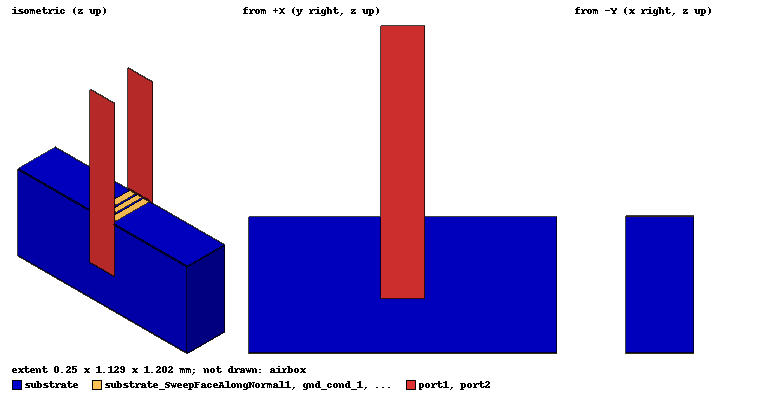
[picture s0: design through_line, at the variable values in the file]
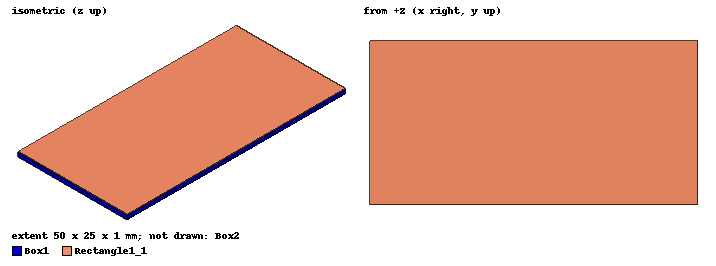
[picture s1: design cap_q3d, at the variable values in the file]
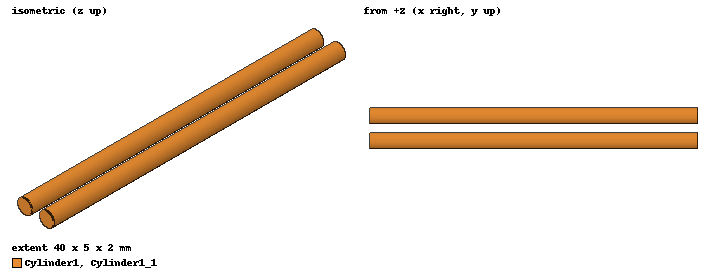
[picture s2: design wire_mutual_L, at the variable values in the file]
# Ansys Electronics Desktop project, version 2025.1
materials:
  air: permittivity=1.0006 permeability=1.0000004
  copper: permeability=0.999991 conductivity=58000000
  FR4_epoxy: permittivity=4.4 dielectric_loss_tangent=0.02
  gallium_arsenide: permittivity=12.9 conductivity=1e-05
  gold: permeability=0.99996 conductivity=41000000
  sapphire: permittivity=9.4
  SolderMask: permittivity=3.1 dielectric_loss_tangent=0.035
  vacuum: permittivity=1

design CPW_transition (HFSS, HFSS Terminal Network, model units mm)
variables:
  subx = 2mm
  suby = s + 2*(g+gnd_width) + 3000um
  subz = 500um
  s = 72um
  g = 33um
  gnd_width = 3*s
  Tmet = 2um
  air_box_h = subz + 15000um
  porty = 3*(2*g+s)
  portz = 2*subz
  airx = subx
  airy = suby+15000um
  abpillarx = 20um
  abpillary = 20um
  abpillarz = 4um
  transition_gap = 1000um
  pillarh = 25um  # optimise 40um..120um
  sig_p_r = 20um  # optimise 10um..30um
  overlay_pad = overlay_tol
  g_pillar_seperation = 100um  # optimise 50um..150um
  gnd_p_r = 30um  # optimise 15um..45um
  chipx = transition_gap+ 2*overlay_tol + 2*dielectric_overlap
  chipy = 3mm
  overlay_tol = 50um  # optimise 25um..75um
  dielectric_overlap = 1mm  # optimise 0.5mm..1.5mm
  chip_s = s
  chip_g = g
  chip_gnd_width = gnd_width
  bonder_tol = 10um  # optimise 5um..15um
  chip_trace_len = transition_gap + 2* overlay_tol + 4*gnd_p_r + bonder_tol
  trace_overlap = overlay_tol + 2*gnd_p_r + bonder_tol/2
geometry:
  substrate [sapphire] = box(corner=(-subx/2, -suby/2, 0mm), size=(subx, suby, subz))
  signal_dummy [vacuum, non-model] = substrate.section(plane=ZX)
  signal_dummy.thicken(s, both sides)
  gap_dummy1 [vacuum, non-model] = sweep_along_normal(signal_dummy.face(at (0, -0.03, 0.25)), length=g)
  gap_dummy2 [vacuum, non-model] = sweep_along_normal(signal_dummy.face(at (0, 0.03, 0.25)), length=g)
  gnd_dummy1 [vacuum, non-model] = sweep_along_normal(gap_dummy1.face(at (0, -0.0585, 0.25)), length=gnd_width)
  gnd_dummy2 [vacuum, non-model] = sweep_along_normal(gap_dummy2.face(at (0, 0.0585, 0.25)), length=gnd_width)
  port1 = rectangle(corner=(subx/2, -porty/2, 50um), y_size=porty, z_size=portz)
  port2 = rectangle(corner=(-subx/2, -porty/2, 50um + pillarh), y_size=porty, z_size=portz)
  airbox [air] = box(corner=(-airx/2, -airy/2, -air_box_h/2), size=(airx, airy, air_box_h))
  substrate_Section1 = substrate.section(plane=YZ)
  substrate_Section1.thicken(transition_gap, both sides)
  substrate_Section1_1 = substrate_Section1.copy()
  gap_dummy1.subtract(substrate_Section1_1)
  substrate_Section1_2 = substrate_Section1.copy()
  gap_dummy2.subtract(substrate_Section1_2)
  substrate_Section1_3 = substrate_Section1.copy()
  gnd_dummy1.subtract(substrate_Section1_3)
  substrate_Section1_4 = substrate_Section1.copy()
  gnd_dummy2.subtract(substrate_Section1_4)
  signal_dummy.subtract(substrate_Section1)
  gnd1_1 [gold] = sweep_along_normal(gnd_dummy1.face(at (0.75, -0.177, 0.5), at (-0.75, -0.177, 0.5)), length=Tmet)
  signal1 [gold] = sweep_along_normal(signal_dummy.face(at (0.75, 0, 0.5), at (-0.75, 0, 0.5)), length=Tmet)
  gnd2_1 [gold] = sweep_along_normal(gnd_dummy2.face(at (0.75, 0.177, 0.5), at (-0.75, 0.177, 0.5)), length=Tmet)
  p_sig_1 [gold] = cylinder(axis=Z, base_centre=(transition_gap/2 + sig_p_r  + overlay_pad, 0mm, subz+Tmet), radius=sig_p_r, height=pillarh)
  p_gnd_1_1 [gold] = cylinder(axis=Z, base_centre=(transition_gap/2 + sig_p_r  + overlay_pad, -g -s/2 - g_pillar_seperation, subz+Tmet), radius=gnd_p_r, height=pillarh)
  p_gnd_2_1 [gold] = p_gnd_1_1.duplicate_mirror(point=(0.53mm, 0mm, 0.502mm), normal=(2.7755576e-14mm, 1mm, 0mm))
  chip [sapphire] = box(corner=(-chipx/2, -chipy/2, subz+2*Tmet+pillarh), size=(chipx, chipy, subz))
  chip_signal_dummy [gallium_arsenide, non-model] = chip.section(plane=ZX)
  chip_signal_dummy.thicken(chip_s, both sides)
  chip_gap_dummy2, chip_gap_dummy1 [gallium_arsenide, non-model] = sweep_along_normal(chip_signal_dummy.face(at (0, 0.036, 0.779), at (0, -0.036, 0.779)), length=chip_g)
  chip_gnd_dummy2 [gallium_arsenide, non-model] = sweep_along_normal(chip_gap_dummy2.face(at (0, 0.069, 0.779)), length=chip_gnd_width)
  chip_gnd_dummy1 [gallium_arsenide, non-model] = sweep_along_normal(chip_gap_dummy1.face(at (0, -0.069, 0.779)), length=chip_gnd_width)
  chip_Section1_Section1 [gallium_arsenide, non-model] = chip_signal_dummy.section(plane=YZ)
  chip_Section1_SweepFaceAlongNormal1_Section1 [gallium_arsenide, non-model] = chip_gap_dummy2.section(plane=YZ)
  chip_Section1_SweepFaceAlongNormal2_Section1 [gallium_arsenide, non-model] = chip_gap_dummy1.section(plane=YZ)
  chip_Section1_SweepFaceAlongNormal1_SweepFaceAlongNormal1_Section1 [gallium_arsenide, non-model] = chip_gnd_dummy2.section(plane=YZ)
  chip_Section1_SweepFaceAlongNormal2_SweepFaceAlongNormal1_Section1 [gallium_arsenide, non-model] = chip_gnd_dummy1.section(plane=YZ)
  [chip_Section1_Section1, chip_Section1_SweepFaceAlongNormal1_Section1, chip_Section1_SweepFaceAlongNormal2_Section1, chip_Section1_SweepFaceAlongNormal1_SweepFaceAlongNormal1_Section1, chip_Section1_SweepFaceAlongNormal2_SweepFaceAlongNormal1_Section1].thicken(chip_trace_len, both sides)
  chip_gnd1 [gold] = sweep_along_normal(chip_Section1_SweepFaceAlongNormal2_SweepFaceAlongNormal1_Section1.face(at (0, -0.177, 0.529)), length=Tmet)
  chip_gnd2 [gold] = sweep_along_normal(chip_Section1_SweepFaceAlongNormal1_SweepFaceAlongNormal1_Section1.face(at (0, 0.177, 0.529)), length=Tmet)
  chip_signal [gold] = sweep_along_normal(chip_Section1_Section1.face(at (0, 0, 0.529)), length=Tmet)
  substrate.move_faces(MoveAlongNormalFlag=false MoveVectorX=0.6mm MoveVectorY=0mm MoveVectorZ=0mm FacesToMove=substrate.face(-x))
  chip_gnd1.move_faces(MoveAlongNormalFlag=false MoveVectorX=0.2666mm MoveVectorY=0mm MoveVectorZ=0mm FacesToMove=chip_gnd1.face(at (-0.615, -0.177, 0.528)))
  chip_signal.move_faces(MoveAlongNormalFlag=false MoveVectorX=0.2666mm MoveVectorY=0mm MoveVectorZ=0mm FacesToMove=chip_signal.face(at (-0.615, 0, 0.528)))
  chip_gnd2.move_faces(MoveAlongNormalFlag=false MoveVectorX=0.2666mm MoveVectorY=0mm MoveVectorZ=0mm FacesToMove=chip_gnd2.face(at (-0.615, 0.177, 0.528)))
  substrate.move_faces(MoveAlongNormalFlag=false MoveVectorX=0.0516mm MoveVectorY=1.4775mm MoveVectorZ=0.024mm FacesToMove=substrate.face(-x))
  substrate.move_faces(MoveAlongNormalFlag=false MoveVectorX=0.4484mm MoveVectorY=0mm MoveVectorZ=0mm FacesToMove=substrate.face(-x))
  chip.move_faces(MoveAlongNormalFlag=false MoveVectorX=1.2016mm MoveVectorY=1.219mm MoveVectorZ=0mm FacesToMove=chip.face(-x))
  port2.move(0.6516mm, 0mm, 0mm)
  chip.move_faces(MoveAlongNormalFlag=false MoveVectorX=-0.935mm MoveVectorY=1.219mm MoveVectorZ=-0.5mm FacesToMove=chip.face(+x))
  airbox.move_faces(MoveAlongNormalFlag=false MoveVectorX=0.6516mm MoveVectorY=9.083mm MoveVectorZ=7.8mm FacesToMove=airbox.face(-x))
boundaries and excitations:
  Rad1: Radiation Faces=airbox.face(-y, +z, -z, +y)
  Rad2: Radiation Faces=airbox.face(+x, -x)
  1: Wave Port Objects=port1 WavePortType=Modal NumModes=1 Modes{Mode1{IntLine{(1, 0.036, 0.502) -> (1, 0.069, 0.502)} CharImp=Zpv RenormImp=50ohm}}
  2: Wave Port Objects=port2 WavePortType=Modal NumModes=1 Modes{Mode1{IntLine{(-0.3484, 0.036, 0.529) -> (-0.3484, 0.069, 0.529)} CharImp=Zpv RenormImp=50ohm}}
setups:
  broadband: HfssDriven MultipleAdaptiveFreqsSetup{Low=10GHz High=50GHz} MaxDeltaS=0.02 MaximumPasses=15 MinimumPasses=1 MinimumConvergedPasses=1 PercentRefinement=30 BasisOrder=1 PortAccuracy=0.1 UseABCOnPort DrivenSolverType="Direct Solver" SaveAnyFields=false
    sweep Sweep: 2GHz to 60GHz, 2801 points; Type=Interpolating InterpTolerance=0.5 InterpMaxSolns=250 PassivityErrorTolerance=0.0001
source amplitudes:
  1:1: 1V 0deg
  2:1: 0V 0deg
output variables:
  lost_power_fraction = 1-(mag(St(1,1))^2 + mag(St(2,1))^2)
  Zl = mag(Zo(1))*(1-mag(S(1,1)))/(1+mag(S(1,1)))
  L = -im(1/Yt(1,2))/(2*3.14*Freq)
  C = (im(Y(1,1) + Y(2,1)) )/ (2 * pi * Freq)
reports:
  L: L vs Freq on broadband : Sweep [pillarh=25um]; markers m1 at 33.5GHz, m2 at 28.56GHz, m3 at 20.37GHz, m4 at 23.793333GHz, m5 at 39.068333GHz, m6 at 34.67GHz, m8 at 45GHz
  C1: mag((Yt(1,1)-Yt(2,1))/(2*3.14*Freq)) vs Freq on broadband : Sweep [pillarh=25um]; markers m1 at 88.91GHz
  C2: mag((Yt(2,2)-Yt(2,1))/(2*3.14*Freq)) vs Freq on broadband : Sweep
  Output Variables Plot1: Zl vs Freq on broadband : Sweep; markers MX1 at x=3.35e+10
  Terminal Z Parameter Plot1: mag(Zt(1,1)) vs Freq on broadband : Sweep; markers m1 at 89.814643GHz
  Output Variables Plot2: C vs Freq on broadband : Sweep [pillarh=25um]; markers m1 at 45.106429GHz

design through_line (HFSS, HFSS Terminal Network, model units mm)
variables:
  subx = 0.25mm
  suby = s + 2*(g+gnd_width) + 1000um
  subz = 500um  # optimise 250um..750um
  s = 30um  # optimise 13.5um..40.5um; tune 13.5um..40.5um
  g = 12.41um  # optimise 44.25um..132.75um
  gnd_width = 3*g
  Tmet = 2um
  air_box_h = subz + 15000um
  porty = 3*(2*g+s)
  portz = 2*subz
  airx = subx
  airy = suby+15000um
  abpillarx = 20um
  abpillary = 20um
  abpillarz = 4um
  port_elevation = 200um  # optimise 100um..300um
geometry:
  substrate [sapphire] = box(corner=(-subx/2, -suby/2, 0mm), size=(subx, suby, subz))
  signal_dummy [vacuum, non-model] = substrate.section(plane=ZX)
  signal_dummy.thicken(s, both sides)
  gap_dummy1 [vacuum, non-model] = sweep_along_normal(signal_dummy.face(at (0, -0.015, 0.25)), length=g)
  gap_dummy2 [vacuum, non-model] = sweep_along_normal(signal_dummy.face(at (0, 0.015, 0.25)), length=g)
  gnd_dummy1 [vacuum, non-model] = sweep_along_normal(gap_dummy1.face(at (0, -0.02741, 0.25)), length=gnd_width)
  gnd_dummy2 [vacuum, non-model] = sweep_along_normal(gap_dummy2.face(at (0, 0.02741, 0.25)), length=gnd_width)
  signal_conductor [gold, solve inside] = sweep_along_normal(signal_dummy.face(at (0, 0, 0.5)), length=Tmet)
  gnd_cond_1 [gold, solve inside] = sweep_along_normal(gnd_dummy1.face(at (0, -0.046025, 0.5)), length=Tmet)
  gnd_cond_2 [gold, solve inside] = sweep_along_normal(gnd_dummy2.face(at (0, 0.046025, 0.5)), length=Tmet)
  port1 = rectangle(corner=(subx/2, -porty/2, port_elevation), y_size=porty, z_size=portz)
  port2 = rectangle(corner=(-subx/2, -porty/2, port_elevation), y_size=porty, z_size=portz)
  airbox [air] = box(corner=(-airx/2, -airy/2, -air_box_h/2), size=(airx, airy, air_box_h))
  airbridge1 [gold, non-model] = box(corner=(2mm, 0mm, 0mm), size=(abpillarx, abpillary, abpillarz))
  Box3 = box(corner=(2mm+abpillarx +2*g+s, 0mm, 0mm), size=(abpillarx, abpillary, abpillarz))
  Box4 = box(corner=(2mm, 0.02mm -abpillary, 0.004mm), size=(2*abpillarx +2*g+s, abpillary, 2um))
  airbridge1.unite(Box3, Box4)
  airbridge1.move(-2mm, 0mm, subz+Tmet)
  airbridge1.rotate(axis=Z, angle=90deg)
  airbridge1.move(0.01mm, -0.0785mm, 0mm)
  airbridge3 [gold, non-model] = box(corner=(2mm, 0mm, 0mm), size=(abpillarx, abpillary, abpillarz))
  Box6 = box(corner=(2mm+abpillarx +2*g+s, 0mm, 0mm), size=(abpillarx, abpillary, abpillarz))
  Box7 = box(corner=(2mm, 0.02mm -abpillary, 0.004mm), size=(2*abpillarx +2*g+s, abpillary, 2um))
  airbridge3.unite(Box6, Box7)
  airbridge3.move(-2mm, 0mm, subz+Tmet)
  airbridge3.rotate(axis=Z, angle=90deg)
  airbridge3.move(0.01mm, -0.0785mm, 0mm)
  airbridge2 [gold, non-model] = box(corner=(2mm, 0mm, 0mm), size=(abpillarx, abpillary, abpillarz))
  Box9 = box(corner=(2mm+abpillarx +2*g+s, 0mm, 0mm), size=(abpillarx, abpillary, abpillarz))
  Box10 = box(corner=(2mm, 0.02mm -abpillary, 0.004mm), size=(2*abpillarx +2*g+s, abpillary, 2um))
  airbridge2.unite(Box9, Box10)
  airbridge2.move(-2mm, 0mm, subz+Tmet)
  airbridge2.rotate(axis=Z, angle=90deg)
  airbridge2.move(0.01mm, -0.0785mm, 0mm)
  airbridge2.move(-350um, 0mm, 0mm)
  airbridge3.move(350um, 0mm, 0mm)
  airbridge4 [gold, non-model] = box(corner=(2mm, 0mm, 0mm), size=(abpillarx, abpillary, abpillarz))
  Box11 = box(corner=(2mm+abpillarx +2*g+s, 0mm, 0mm), size=(abpillarx, abpillary, abpillarz))
  Box12 = box(corner=(2mm, 0.02mm -abpillary, 0.004mm), size=(2*abpillarx +2*g+s, abpillary, 2um))
  airbridge4.unite(Box11, Box12)
  airbridge4.move(-2mm, 0mm, subz+Tmet)
  airbridge4.rotate(axis=Z, angle=90deg)
  airbridge4.move(0.01mm, -0.0785mm, 0mm)
  airbridge5 [gold, non-model] = box(corner=(2mm, 0mm, 0mm), size=(abpillarx, abpillary, abpillarz))
  Box13 = box(corner=(2mm+abpillarx +2*g+s, 0mm, 0mm), size=(abpillarx, abpillary, abpillarz))
  Box14 = box(corner=(2mm, 0.02mm -abpillary, 0.004mm), size=(2*abpillarx +2*g+s, abpillary, 2um))
  airbridge5.unite(Box13, Box14)
  airbridge5.move(-2mm, 0mm, subz+Tmet)
  airbridge5.rotate(axis=Z, angle=90deg)
  airbridge5.move(0.01mm, -0.0785mm, 0mm)
  airbridge4.move(-700um, 0mm, 0mm)
  airbridge5.move(700um, 0mm, 0mm)
  airbridge6 [gold, non-model] = box(corner=(2mm, 0mm, 0mm), size=(abpillarx, abpillary, abpillarz))
  Box15 = box(corner=(2mm+abpillarx +2*g+s, 0mm, 0mm), size=(abpillarx, abpillary, abpillarz))
  Box16 = box(corner=(2mm, 0.02mm -abpillary, 0.004mm), size=(2*abpillarx +2*g+s, abpillary, 2um))
  airbridge6.unite(Box15, Box16)
  airbridge6.move(-2mm, 0mm, subz+Tmet)
  airbridge6.rotate(axis=Z, angle=90deg)
  airbridge6.move(0.01mm, -0.0785mm, 0mm)
  airbridge6.move(-1050um, 0mm, 0mm)
  airbridge7 [gold, non-model] = box(corner=(2mm, 0mm, 0mm), size=(abpillarx, abpillary, abpillarz))
  Box17 = box(corner=(2mm+abpillarx +2*g+s, 0mm, 0mm), size=(abpillarx, abpillary, abpillarz))
  Box18 = box(corner=(2mm, 0.02mm -abpillary, 0.004mm), size=(2*abpillarx +2*g+s, abpillary, 2um))
  airbridge7.unite(Box17, Box18)
  airbridge7.move(-2mm, 0mm, subz+Tmet)
  airbridge7.rotate(axis=Z, angle=90deg)
  airbridge7.move(0.01mm, -0.0785mm, 0mm)
  airbridge7.move(1050um, 0mm, 0mm)
  substrate_SweepFaceAlongNormal1 [gold, solve inside] = sweep_along_normal(substrate.face(-z), length=2um)
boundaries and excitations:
  Rad1: Radiation Faces=airbox.face(-y, +z, -z, +y)
  Rad2: Radiation Faces=airbox.face(+x, -x)
  PerfE1: Perfect E Faces=substrate_SweepFaceAlongNormal1.face(at (0, 0, -0.002))
  1: Wave Port Objects=port1 WavePortType=Modal NumModes=1 Modes{Mode1{IntLine{(0.125, 0.015, 0.502) -> (0.125, 0.02741, 0.502)} CharImp=Zpv RenormImp=50ohm}}
  2: Wave Port Objects=port2 WavePortType=Modal NumModes=1 Modes{Mode1{IntLine{(-0.125, 0.015, 0.502) -> (-0.125, 0.02741, 0.502)} CharImp=Zpv RenormImp=50ohm}}
  reference conductors: gnd_cond_1, gnd_cond_2
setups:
  broadband: HfssDriven MultipleAdaptiveFreqsSetup{Low=7GHz High=40GHz} MaxDeltaS=0.02 MaximumPasses=15 MinimumPasses=1 MinimumConvergedPasses=1 PercentRefinement=30 BasisOrder=1 PortAccuracy=0.1 UseABCOnPort DrivenSolverType="Direct Solver"
    sweep intepolating: 1GHz to 50GHz, 2801 points; Type=Interpolating InterpTolerance=0.5 InterpMaxSolns=250 PassivityErrorTolerance=0.0001
    sweep discrete: 25GHz to 45GHz step 0.5GHz; disabled Type=Discrete
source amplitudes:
  1:1: 1V 0deg
  2:1: 0V 0deg
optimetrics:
  gnd_width: Parametric disabled Sim._Setups=[broadband]
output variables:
  lost_power_fraction = 1-(mag(St(1,1))^2 + mag(St(2,1))^2)
  Zl = mag(Zo(1))*(1-mag(S(1,1)))/(1+mag(S(1,1)))
  L = -im(1/Yt(1,2))/(2*3.14*Freq)
  C = (im(Y(1,1) + Y(2,1)) )/ (2 * pi * Freq)
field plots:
  Mag_E1: E Field in airbox on broadband : LastAdaptive at Freq=23.5GHz Phase=0deg
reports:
  Output Variables Plot1: C/subx vs Freq on broadband : intepolating; markers m1 at 6.7839286GHz, m2 at 9.9821429GHz, m3 at 13.646429GHz, m4 at 16.507143GHz, m5 at 8.4232143GHz, m6 at 11.589286GHz, m7 at 14.980357GHz, m8 at 17.985714GHz, MY1 at y=0
  Output Variables Plot2: L/subx vs Freq on broadband : intepolating; markers m1 at 6.9125GHz, m2 at 8.9053571GHz, m3 at 11.042857GHz, m4 at 13.003571GHz, m5 at 14.948214GHz, m6 at 16.860714GHz, m7 at 18.676786GHz, MY1 at y=0
  Plot1:
  Terminal S Parameter Plot1: dB(St(1,1)) vs Freq on broadband : intepolating
  Port Zo Plot1: re(Zo(1)) vs Freq on broadband : intepolating
  Terminal S Parameter Plot2: dB(St(2,1)) vs Freq on broadband : intepolating
  Terminal TDR Impedance Plot1: TDRZt(1) vs Time on broadband : intepolating

design CPW_transition1 (HFSS, HFSS Terminal Network, model units mm)
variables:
  subx = 3.9mm
  suby = s + 2*(g+gnd_width) + 3000um
  subz = 500um
  s = 72um
  g = 33um
  gnd_width = 3*s
  Tmet = 2um
  air_box_h = subz + 15000um
  porty = 3*(2*g+s)
  portz = 2*subz
  airx = subx
  airy = suby+15000um
  abpillarx = 20um
  abpillary = 20um
  abpillarz = 4um
  transition_gap = 1000um
  pillarh = 25um  # optimise 40um..120um
  sig_p_r = 20um  # optimise 10um..30um
  overlay_pad = overlay_tol
  g_pillar_seperation = 100um  # optimise 50um..150um
  gnd_p_r = 30um  # optimise 15um..45um
  chipx = transition_gap+ 2*overlay_tol + 2*dielectric_overlap
  chipy = 3mm
  overlay_tol = 10um  # optimise 25um..75um
  dielectric_overlap = 1mm  # optimise 0.5mm..1.5mm
  chip_s = s
  chip_g = g
  chip_gnd_width = gnd_width
  bonder_tol = 0um  # optimise 5um..15um
  chip_trace_len = transition_gap + 2* overlay_tol + 4*gnd_p_r + bonder_tol
  trace_overlap = overlay_tol + 2*gnd_p_r + bonder_tol/2
  high_s = 26.5um
  highZ_len = 290.8um
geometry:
  substrate [sapphire] = box(corner=(-subx/2, -suby/2, 0mm), size=(subx, suby, subz))
  signal_dummy [vacuum, non-model] = substrate.section(plane=ZX)
  signal_dummy.thicken(s, both sides)
  gap_dummy1 [vacuum, non-model] = sweep_along_normal(signal_dummy.face(at (0, -0.03, 0.25)), length=g)
  gap_dummy2 [vacuum, non-model] = sweep_along_normal(signal_dummy.face(at (0, 0.03, 0.25)), length=g)
  gnd_dummy1 [vacuum, non-model] = sweep_along_normal(gap_dummy1.face(at (0, -0.0585, 0.25)), length=gnd_width)
  gnd_dummy2 [vacuum, non-model] = sweep_along_normal(gap_dummy2.face(at (0, 0.0585, 0.25)), length=gnd_width)
  port1 = rectangle(corner=(subx/2, -porty/2, 50um), y_size=porty, z_size=portz)
  port2 = rectangle(corner=(-subx/2 +subx/3 - (overlay_tol + 2*gnd_p_r + bonder_tol/2), -porty/2, 50um + pillarh), y_size=porty, z_size=portz)
  airbox [air] = box(corner=(-airx/2, -airy/2, -air_box_h/2), size=(airx, airy, air_box_h))
  substrate_Section1 = substrate.section(plane=YZ)
  substrate_Section1.thicken(transition_gap, both sides)
  substrate_Section1_1 = substrate_Section1.copy()
  gap_dummy1.subtract(substrate_Section1_1)
  substrate_Section1_2 = substrate_Section1.copy()
  gap_dummy2.subtract(substrate_Section1_2)
  substrate_Section1_3 = substrate_Section1.copy()
  gnd_dummy1.subtract(substrate_Section1_3)
  substrate_Section1_4 = substrate_Section1.copy()
  gnd_dummy2.subtract(substrate_Section1_4)
  signal_dummy.subtract(substrate_Section1)
  gnd1_1 [gold] = sweep_along_normal(gnd_dummy1.face(at (1.225, -0.177, 0.5), at (-1.225, -0.177, 0.5)), length=Tmet)
  signal1 [gold] = sweep_along_normal(signal_dummy.face(at (1.225, 0, 0.5), at (-1.225, 0, 0.5)), length=Tmet)
  gnd2_1 [gold] = sweep_along_normal(gnd_dummy2.face(at (1.225, 0.177, 0.5), at (-1.225, 0.177, 0.5)), length=Tmet)
  p_sig_1 [gold] = cylinder(axis=Z, base_centre=(transition_gap/2 + sig_p_r  + overlay_pad, 0mm, subz+Tmet), radius=sig_p_r, height=pillarh)
  p_gnd_1_1 [gold] = cylinder(axis=Z, base_centre=(transition_gap/2 + sig_p_r  + overlay_pad, -g -s/2 - g_pillar_seperation, subz+Tmet), radius=gnd_p_r, height=pillarh)
  p_gnd_2_1 [gold] = p_gnd_1_1.duplicate_mirror(point=(0.53mm, 0mm, 0.502mm), normal=(2.7755576e-14mm, 1mm, 0mm))
  chip [sapphire] = box(corner=(-chipx/2, -chipy/2, subz+2*Tmet+pillarh), size=(chipx, chipy, subz))
  chip_signal_dummy [gallium_arsenide, non-model] = chip.section(plane=ZX)
  chip_signal_dummy.thicken(chip_s, both sides)
  chip_gap_dummy2, chip_gap_dummy1 [gallium_arsenide, non-model] = sweep_along_normal(chip_signal_dummy.face(at (0, 0.036, 0.779), at (0, -0.036, 0.779)), length=chip_g)
  chip_gnd_dummy2 [gallium_arsenide, non-model] = sweep_along_normal(chip_gap_dummy2.face(at (0, 0.069, 0.779)), length=chip_gnd_width)
  chip_gnd_dummy1 [gallium_arsenide, non-model] = sweep_along_normal(chip_gap_dummy1.face(at (0, -0.069, 0.779)), length=chip_gnd_width)
  chip_Section1_Section1 [gallium_arsenide, non-model] = chip_signal_dummy.section(plane=YZ)
  chip_Section1_SweepFaceAlongNormal1_Section1 [gallium_arsenide, non-model] = chip_gap_dummy2.section(plane=YZ)
  chip_Section1_SweepFaceAlongNormal2_Section1 [gallium_arsenide, non-model] = chip_gap_dummy1.section(plane=YZ)
  chip_Section1_SweepFaceAlongNormal1_SweepFaceAlongNormal1_Section1 [gallium_arsenide, non-model] = chip_gnd_dummy2.section(plane=YZ)
  chip_Section1_SweepFaceAlongNormal2_SweepFaceAlongNormal1_Section1 [gallium_arsenide, non-model] = chip_gnd_dummy1.section(plane=YZ)
  [chip_Section1_Section1, chip_Section1_SweepFaceAlongNormal1_Section1, chip_Section1_SweepFaceAlongNormal2_Section1, chip_Section1_SweepFaceAlongNormal1_SweepFaceAlongNormal1_Section1, chip_Section1_SweepFaceAlongNormal2_SweepFaceAlongNormal1_Section1].thicken(chip_trace_len, both sides)
  chip_gnd1 [gold] = sweep_along_normal(chip_Section1_SweepFaceAlongNormal2_SweepFaceAlongNormal1_Section1.face(at (0, -0.177, 0.529)), length=Tmet)
  chip_gnd2 [gold] = sweep_along_normal(chip_Section1_SweepFaceAlongNormal1_SweepFaceAlongNormal1_Section1.face(at (0, 0.177, 0.529)), length=Tmet)
  chip_signal [gold] = sweep_along_normal(chip_Section1_Section1.face(at (0, 0, 0.529)), length=Tmet)
  airbox.move_faces(MoveAlongNormalFlag=false MoveVectorX=0.6516mm MoveVectorY=9.083mm MoveVectorZ=7.8mm FacesToMove=airbox.face(-x))
  signal_dummy_SweepFaceAlongNormal1 [vacuum, non-model] = sweep_along_normal(signal_dummy.face(at (0.5, 0, 0.25)), length=-(trace_overlap+highZ_len))
  substrate.move_faces(MoveAlongNormalFlag=true OffsetDistance=-subx/3 FacesToMove=substrate.face(-x))
  substrate.move_faces(MoveAlongNormalFlag=false MoveVectorX=0.08mm MoveVectorY=-1.5mm MoveVectorZ=0.029mm FacesToMove=substrate.face(-x))
  port2.move(0.15mm, 0mm, 0mm)
  chip.move_faces(MoveAlongNormalFlag=false MoveVectorX=0.94mm MoveVectorY=-0.285mm MoveVectorZ=-0.529mm FacesToMove=chip.face(-x))
  airbox.move_faces(MoveAlongNormalFlag=false MoveVectorX=0.7284mm MoveVectorY=7.5mm MoveVectorZ=-7.25mm FacesToMove=airbox.face(-x))
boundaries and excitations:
  Rad1: Radiation Faces=airbox.face(-y, +z, -z, +y)
  Rad2: Radiation Faces=airbox.face(+x, -x)
  1: Wave Port Objects=port1 WavePortType=Modal NumModes=1 Modes{Mode1{IntLine{(1.95, 0.036, 0.502) -> (1.95, 0.069, 0.502)} CharImp=Zpv RenormImp=50ohm}}
  2: Wave Port Objects=port2 WavePortType=Modal NumModes=1 Modes{Mode1{IntLine{(-0.57, 0.036, 0.529) -> (-0.57, 0.069, 0.529)} CharImp=Zpv RenormImp=50ohm}}
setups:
  broadband: HfssDriven MultipleAdaptiveFreqsSetup{Low=100MHz High=20GHz} MaxDeltaS=0.02 MaximumPasses=15 MinimumPasses=1 MinimumConvergedPasses=1 PercentRefinement=30 BasisOrder=1 PortAccuracy=0.1 UseABCOnPort DrivenSolverType="Direct Solver" SaveAnyFields=false
    sweep Sweep: 0.1GHz to 20GHz, 2801 points; Type=Interpolating InterpTolerance=0.5 InterpMaxSolns=250 PassivityErrorTolerance=0.0001
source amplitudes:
  1:1: 1V 0deg
  2:1: 0V 0deg
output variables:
  lost_power_fraction = 1-(mag(St(1,1))^2 + mag(St(2,1))^2)
  Zl = mag(Zo(1))*(1-mag(S(1,1)))/(1+mag(S(1,1)))
  L = -im(1/Yt(1,2))/(2*3.14*Freq)
  C = (im(Y(1,1) + Y(2,1)) )/ (2 * pi * Freq)
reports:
  L: L vs Freq on broadband : Sweep [pillarh=25um]; markers m1 at 33.5GHz, m2 at 28.56GHz, m3 at 20.37GHz, m4 at 23.793333GHz, m5 at 39.068333GHz, m6 at 34.67GHz, m8 at 45GHz, MY1 at y=0
  C1: mag((Yt(1,1)-Yt(2,1))/(2*3.14*Freq)) vs Freq on broadband : Sweep [pillarh=25um]; markers m1 at 88.91GHz
  C2: mag((Yt(2,2)-Yt(2,1))/(2*3.14*Freq)) vs Freq on broadband : Sweep
  Output Variables Plot1: Zl vs Freq on broadband : Sweep; markers MX1 at x=3.35e+10
  Terminal Z Parameter Plot1: mag(Zt(1,1)) vs Freq on broadband : Sweep; markers m1 at 25.485GHz
  Output Variables Plot2: C vs Freq on broadband : Sweep [pillarh=25um]; markers m1 at 45.106429GHz, m2 at 2.3064286GHz, m3 at 3.7392857GHz, m4 at 5.0035714GHz, m5 at 6.9210714GHz, m6 at 8.6489286GHz, MY1 at y=0

design trasnsition (Q3D Extractor, model units mm)
options: SParamCalcMethod=EqTransLine Allow_Material_Override Calculate_Lossy_Dielectrics
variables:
  subz = 500um
  g = 33um
  gnd_width = 3*s
  suby = s + 2*(g+gnd_width) + 3000um
  subx = 2mm
  s = 72um
  transition_gap = 1000um
  porty = 3*(2*g+s)
  portz = 2*subz
  Tmet = 2um
  pillarh = 80um  # optimise 20um..60um
  sig_p_r = 20um
  overlay_pad = overlay_tol
  overlay_tol = 50um
  gnd_p_r = 30um
  g_pillar_seperation = 100um
  dielectric_overlap = 1mm
  chipx = transition_gap+ 2*overlay_tol + 2*dielectric_overlap
  chipy = 3mm
  chip_s = s
  chip_g = g
  chip_gnd_width = gnd_width
  trace_overlap = transition_gap + 2* overlay_tol + 4*gnd_p_r + bonder_tol
  bonder_tol = 10um
  airx = subx
  air_box_h = subz + 2000um
  airy = suby+2000um
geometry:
  substrate [sapphire] = box(corner=(-subx/2, -suby/2, 0mm), size=(subx, suby, subz))
  signal_dummy = substrate.section(plane=ZX)
  substrate_Section1 = substrate.section(plane=YZ)
  substrate.move_faces(MoveAlongNormalFlag=false MoveVectorX=0.6mm MoveVectorY=0mm MoveVectorZ=0mm FacesToMove=substrate.face(-x))
  substrate.move_faces(MoveAlongNormalFlag=false MoveVectorX=0.0516mm MoveVectorY=1.4775mm MoveVectorZ=0.024mm FacesToMove=substrate.face(-x))
  substrate.move_faces(MoveAlongNormalFlag=false MoveVectorX=0.4484mm MoveVectorY=0mm MoveVectorZ=0mm FacesToMove=substrate.face(-x))
  signal_dummy.thicken(s, both sides)
  gap_dummy1 = sweep_along_normal(signal_dummy.face(at (0, -0.036, 0.25)), length=g)
  gnd_dummy1 = sweep_along_normal(gap_dummy1.face(at (0, -0.069, 0.25)), length=gnd_width)
  substrate_Section1.thicken(transition_gap, both sides)
  substrate_Section1_3 = substrate_Section1.copy()
  gnd_dummy1.subtract(substrate_Section1_3)
  gnd1_1 = sweep_along_normal(gnd_dummy1.face(at (0.75, -0.177, 0.5), #458), length=Tmet)
  [gap_dummy1, gnd_dummy1].delete()
  gap_dummy2 = sweep_along_normal(signal_dummy.face(at (0, 0.036, 0.25)), length=g)
  substrate_Section1_4 = substrate_Section1.copy()
  signal_dummy.subtract(substrate_Section1)
  signal1 = sweep_along_normal(signal_dummy.face(at (0.75, 0, 0.5), #335), length=Tmet)
  signal_dummy.delete()
  gnd_dummy2 = sweep_along_normal(gap_dummy2.face(at (0, 0.069, 0.25)), length=gnd_width)
  gnd_dummy2.subtract(substrate_Section1_4)
  gnd2_1 [gold] = sweep_along_normal(gnd_dummy2.face(at (0.75, 0.177, 0.5), #521), length=Tmet)
  [gap_dummy2, gnd_dummy2].delete()
  p_sig_1 = cylinder(axis=Z, base_centre=(transition_gap/2 + sig_p_r  + overlay_pad, 0mm, subz+Tmet), radius=sig_p_r, height=pillarh)
  p_gnd_1_1 = cylinder(axis=Z, base_centre=(transition_gap/2 + sig_p_r  + overlay_pad, -g -s/2 - g_pillar_seperation, subz+Tmet), radius=gnd_p_r, height=pillarh)
  p_gnd_2_1 = p_gnd_1_1.duplicate_mirror(point=(0.53mm, 0mm, 0.502mm), normal=(2.7755576e-14mm, 1mm, 0mm))
  chip = box(corner=(-chipx/2, -chipy/2, subz+2*Tmet+pillarh), size=(chipx, chipy, subz))
  chip_signal_dummy = chip.section(plane=ZX)
  chip_signal_dummy.thicken(chip_s, both sides)
  chip_gap_dummy2, chip_gap_dummy1 = sweep_along_normal(chip_signal_dummy.face(at (0, 0.036, 0.834), at (0, -0.036, 0.834)), length=chip_g)
  chip_gnd_dummy1 = sweep_along_normal(chip_gap_dummy1.face(at (0, -0.069, 0.834)), length=chip_gnd_width)
  chip_Section1_SweepFaceAlongNormal2_SweepFaceAlongNormal1_Section1 = chip_gnd_dummy1.section(plane=YZ)
  chip_Section1_SweepFaceAlongNormal2_SweepFaceAlongNormal1_Section1.thicken(trace_overlap, both sides)
  chip_gnd1 [gold] = sweep_along_normal(chip_Section1_SweepFaceAlongNormal2_SweepFaceAlongNormal1_Section1.face(at (0, -0.177, 0.584)), length=Tmet)
  [chip, chip_gap_dummy1, chip_gnd_dummy1, chip_Section1_SweepFaceAlongNormal2_SweepFaceAlongNormal1_Section1].delete()
  chip_gnd1.move_faces(MoveAlongNormalFlag=false MoveVectorX=0.2666mm MoveVectorY=0mm MoveVectorZ=0mm FacesToMove=chip_gnd1.face(at (0.5, -0.177, 0.583)))
  chip_gnd_dummy2 = sweep_along_normal(chip_gap_dummy2.face(at (0, 0.069, 0.834)), length=chip_gnd_width)
  chip_Section1_SweepFaceAlongNormal1_SweepFaceAlongNormal1_Section1 = chip_gnd_dummy2.section(plane=YZ)
  chip_Section1_SweepFaceAlongNormal1_SweepFaceAlongNormal1_Section1.thicken(trace_overlap, both sides)
  chip_gnd2 = sweep_along_normal(chip_Section1_SweepFaceAlongNormal1_SweepFaceAlongNormal1_Section1.face(at (0, 0.177, 0.584)), length=Tmet)
  [chip_gap_dummy2, chip_gnd_dummy2, chip_Section1_SweepFaceAlongNormal1_SweepFaceAlongNormal1_Section1].delete()
  chip_gnd2.move_faces(MoveAlongNormalFlag=false MoveVectorX=0.2666mm MoveVectorY=0mm MoveVectorZ=0mm FacesToMove=gnd2_1.face(at (0.5, 0.177, 0.583)))
  chip_Section1_Section1 = chip_signal_dummy.section(plane=YZ)
  chip_Section1_Section1.thicken(trace_overlap, both sides)
  chip_signal [gold] = sweep_along_normal(chip_Section1_Section1.face(at (0, 0, 0.584)), length=Tmet)
  [chip_signal_dummy, chip_Section1_Section1].delete()
  chip_signal.move_faces(MoveAlongNormalFlag=false MoveVectorX=0.2666mm MoveVectorY=0mm MoveVectorZ=0mm FacesToMove=chip_signal.face(at (0.5, 0, 0.583)))
  airbox [air] = box(corner=(-airx/2, -airy/2, -air_box_h/2), size=(airx, airy, air_box_h))
  airbox.move_faces(MoveAlongNormalFlag=false MoveVectorX=0.6516mm MoveVectorY=9.083mm MoveVectorZ=7.8mm FacesToMove=airbox.face(-x))
  chip1 [gallium_arsenide] = box(corner=(-chipx/2, -chipy/2, subz+2*Tmet+pillarh), size=(chipx, chipy, subz))
  chip1.move_faces(MoveAlongNormalFlag=false MoveVectorX=1.2016mm MoveVectorY=1.219mm MoveVectorZ=0mm FacesToMove=chip1.face(-x))
  chip1.move_faces(MoveAlongNormalFlag=false MoveVectorX=-0.935mm MoveVectorY=1.219mm MoveVectorZ=-0.5mm FacesToMove=chip1.face(+x))
  substrate.move_faces(MoveAlongNormalFlag=false MoveVectorX=-0.385mm MoveVectorY=0.2585mm MoveVectorZ=0.084mm FacesToMove=substrate.face(+x))
  gnd1_1.move_faces(MoveAlongNormalFlag=false MoveVectorX=-0.385mm MoveVectorY=0.2585mm MoveVectorZ=0.084mm FacesToMove=chip_gnd1.face(at (0.615, -0.177, 0.501)))
  signal1.move_faces(MoveAlongNormalFlag=false MoveVectorX=-0.385mm MoveVectorY=0.2585mm MoveVectorZ=0.084mm FacesToMove=chip_signal.face(at (0.615, 0, 0.501)))
  gnd2_1.move_faces(MoveAlongNormalFlag=false MoveVectorX=-0.385mm MoveVectorY=0.2585mm MoveVectorZ=0.084mm FacesToMove=gnd2_1.face(at (0.615, 0.177, 0.501)))
  chip1.move_faces(MoveAlongNormalFlag=false MoveVectorX=0.4484mm MoveVectorY=-0.2585mm MoveVectorZ=-0.084mm FacesToMove=chip1.face(-x))
  chip_gnd2.move_faces(MoveAlongNormalFlag=false MoveVectorX=0.4484mm MoveVectorY=-0.2585mm MoveVectorZ=-0.084mm FacesToMove=gnd2_1.face(at (0.5, 0.177, 0.583)))
  chip_signal.move_faces(MoveAlongNormalFlag=false MoveVectorX=0.4484mm MoveVectorY=-0.2585mm MoveVectorZ=-0.084mm FacesToMove=chip_signal.face(at (0.5, 0, 0.583)))
  chip_gnd1.move_faces(MoveAlongNormalFlag=false MoveVectorX=0.4484mm MoveVectorY=-0.2585mm MoveVectorZ=-0.084mm FacesToMove=chip_gnd1.face(at (0.5, -0.177, 0.583)))
  substrate.move_faces(MoveAlongNormalFlag=true OffsetDistance=0.5mm FacesToMove=substrate.face(+x))
  chip_gnd2.move_faces(MoveAlongNormalFlag=false MoveVectorX=0.4mm MoveVectorY=1.2415mm MoveVectorZ=-0.082mm FacesToMove=gnd2_1.face(at (0.5, 0.177, 0.583)))
  chip_signal.move_faces(MoveAlongNormalFlag=false MoveVectorX=0.4mm MoveVectorY=1.2415mm MoveVectorZ=-0.082mm FacesToMove=chip_signal.face(at (0.5, 0, 0.583)))
  chip_gnd1.move_faces(MoveAlongNormalFlag=false MoveVectorX=0.4mm MoveVectorY=1.2415mm MoveVectorZ=-0.082mm FacesToMove=chip_gnd1.face(at (0.5, -0.177, 0.583)))
  gnd2_1.unite(chip_gnd2, p_gnd_2_1)
  chip_signal.unite(p_sig_1, signal1)
  chip_gnd1.unite(gnd1_1, p_gnd_1_1)
  airbox.move_faces(MoveAlongNormalFlag=false MoveVectorX=0.115mm MoveVectorY=7.5mm MoveVectorZ=-7.25mm FacesToMove=airbox.face(+x))
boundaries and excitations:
  gnd2_1: SignalNet Objects=gnd2_1
  chip_gnd1: SignalNet Objects=chip_gnd1
  chip_signal: SignalNet Objects=chip_signal
  Source1: Source Faces=chip_gnd1.face(at (0.615, -0.177, 0.501)) TerminalType=ConstantVoltage Net=chip_gnd1
  Source2: Source Faces=chip_signal.face(at (0.615, 0, 0.501)) TerminalType=ConstantVoltage Net=chip_signal
  Source3: Source Faces=gnd2_1.face(at (0.615, 0.177, 0.501)) TerminalType=ConstantVoltage Net=gnd2_1
  Sink1: Sink Faces=chip_gnd1.face(at (0.5, -0.177, 0.583)) TerminalType=ConstantVoltage Net=chip_gnd1
  Sink2: Sink Faces=chip_signal.face(at (0.5, 0, 0.583)) TerminalType=ConstantVoltage Net=chip_signal
  Sink3: Sink Faces=gnd2_1.face(at (0.5, 0.177, 0.583)) TerminalType=ConstantVoltage Net=gnd2_1
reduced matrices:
  JoinParallelMatrix: Operations{op(JoinParallel1, 0, "JoinParallel('gnd', 'Source3', 'Sink3', 10, 12)")}
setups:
  Setup1: Matrix AdaptiveFreq=33.5kHz Cap{MaxPass=20 MinPass=1 MinConvPass=1 PerError=1 PerRefine=30 AutoIncreaseAccuracy AccuracyLevel=High Solver_Type=Iterative} DC{Cond{MaxPass=10 MinPass=1 MinConvPass=1 PerError=1 PerRefine=30} Mult{MaxPass=1 MinPass=1 MinConvPass=1 PerError=1 PerRefine=30} AccuracyLevel=Normal} AC{MaxPass=10 MinPass=1 MinConvPass=1 PerError=1 PerRefine=30 ACRLSolverType=ACA} ErrorValue=0.1
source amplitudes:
  chip_gnd1:Source1: AC R/L Fields 1A 0deg
  chip_signal:Source2, gnd2_1:Source3: AC R/L Fields 0A 0deg
  chip_gnd1, chip_signal: CG Fields 0V 0deg
  gnd2_1: CG Fields 1V 0deg
  chip_gnd1:Source1: DC R/L Fields 1A 0deg
  chip_signal:Source2, gnd2_1:Source3: DC R/L Fields 0A 0deg

design cap_q3d (Q3D Extractor, model units mm)
options: SParamCalcMethod=EqTransLine Calculate_Lossy_Dielectrics
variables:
  x_size = 50mm
  y_size = 25mm
  d = 1mm
  airx = 60mm
  airy = 40mm
  airz = 20mm
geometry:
  Rectangle1 [copper] = rectangle(corner=(-1mm, 1mm, 0mm), x_size=x_size, y_size=y_size)
  Rectangle1_1 [copper] = Rectangle1.duplicate_along_line(step=(0mm, 0mm, d), total=2)
  Box1 [sapphire] = box(corner=(-1mm, 1mm, 0mm), size=(50mm, 25mm, 1mm))
  Box2 [air] = box(corner=(-airx/2, -airy/2, -airz/2), size=(airx, airy, airz))
  [Rectangle1, Rectangle1_1, Box1].move(-25mm, -12.5mm, -3mm)
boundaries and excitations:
  ThinCond1: ThinConductor Objects=[Rectangle1_1, Rectangle1] Material=Copper Thickness=1mm
  Rectangle1: SignalNet Objects=Rectangle1
  Rectangle1_1: SignalNet Objects=Rectangle1_1
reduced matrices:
  GroundNetMatrix: Operations{op(GroundNet1, 0, GroundNet(2))}
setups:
  Setup1: Matrix AdaptiveFreq=1GHz Cap{MaxPass=10 MinPass=1 MinConvPass=1 PerError=1 PerRefine=30 AutoIncreaseAccuracy AccuracyLevel=High Solver_Type=Iterative} ErrorValue=0.1
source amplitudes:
  Rectangle1: CG Fields 1V 0deg
  Rectangle1_1: CG Fields 0V 0deg

design wire_L (Q3D Extractor, model units mm)
options: SParamCalcMethod=EqTransLine Calculate_Lossy_Dielectrics
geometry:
  Cylinder1 [copper] = cylinder(axis=X, base_centre=(0mm, -10.5mm, 8.5mm), radius=0.5mm, height=20mm)
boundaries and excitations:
  Source1: Source Faces=Cylinder1.face(+x end) TerminalType=ConstantVoltage Net=Cylinder1
  Cylinder1: SignalNet Objects=Cylinder1
  Sink1: Sink Faces=Cylinder1.face(-x end) TerminalType=ConstantVoltage Net=Cylinder1
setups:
  Setup1: Matrix AdaptiveFreq=1kHz Cap{MaxPass=10 MinPass=1 MinConvPass=1 PerError=1 PerRefine=30 AutoIncreaseAccuracy AccuracyLevel=High Solver_Type=Iterative} DC{Cond{MaxPass=10 MinPass=1 MinConvPass=1 PerError=1 PerRefine=30} Mult{MaxPass=1 MinPass=1 MinConvPass=1 PerError=1 PerRefine=30} AccuracyLevel=Normal} AC{MaxPass=10 MinPass=1 MinConvPass=1 PerError=1 PerRefine=30 ACRLSolverType=ACA} ErrorValue=0.1
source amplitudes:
  Cylinder1:Source1: AC R/L Fields 1A 0deg
  Cylinder1: CG Fields 1V 0deg
  Cylinder1:Source1: DC R/L Fields 1A 0deg

design wire_mutual_L (Q3D Extractor, model units mm)
options: SParamCalcMethod=EqTransLine Calculate_Lossy_Dielectrics
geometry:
  Cylinder1 [copper] = cylinder(axis=X, base_centre=(0mm, -0.6mm, 0.8mm), radius=1mm, height=40mm)
  Cylinder1_1 [copper] = Cylinder1.duplicate_along_line(step=(0mm, 3mm, 0mm), total=2)
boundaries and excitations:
  Cylinder1: SignalNet Objects=Cylinder1
  Cylinder1_1: SignalNet Objects=Cylinder1_1
  Source1: Source Faces=Cylinder1_1.face(at (40, 2.4, 0.8)) TerminalType=ConstantVoltage Net=Cylinder1_1
  Sink1: Sink Faces=Cylinder1_1.face(at (0, 2.4, 0.8)) TerminalType=ConstantVoltage Net=Cylinder1_1
  Source2: Source Faces=Cylinder1.face(-x end) TerminalType=ConstantVoltage Net=Cylinder1
  Sink2: Sink Faces=Cylinder1.face(+x end) TerminalType=ConstantVoltage Net=Cylinder1
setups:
  Setup1: Matrix AdaptiveFreq=1GHz Cap{MaxPass=10 MinPass=1 MinConvPass=1 PerError=1 PerRefine=30 AutoIncreaseAccuracy AccuracyLevel=High Solver_Type=Iterative} DC{Cond{MaxPass=10 MinPass=1 MinConvPass=1 PerError=1 PerRefine=30} Mult{MaxPass=1 MinPass=1 MinConvPass=1 PerError=1 PerRefine=30} AccuracyLevel=Normal} AC{MaxPass=10 MinPass=1 MinConvPass=1 PerError=1 PerRefine=30 ACRLSolverType=ACA} ErrorValue=0.1
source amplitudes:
  Cylinder1_1:Source1: AC R/L Fields 1A 0deg
  Cylinder1:Source2: AC R/L Fields 0A 0deg
  Cylinder1: CG Fields 1V 0deg
  Cylinder1_1: CG Fields 0V 0deg
  Cylinder1_1:Source1: DC R/L Fields 1A 0deg
  Cylinder1:Source2: DC R/L Fields 0A 0deg

design Circuit1 (Circuit)
options: SParamCircuitDef IntegrationMethod=FFT
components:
  A8 = NXGCPWTRL(W=72um G=33um P=1000um)
  A1 = NXGCPWTRL(W=72um G=33um P=1000um)
  L12 = IND_(L=8.2e-12)
  C13 = CAP_(C=1.09e-10farad)
  C14 = CAP_(C=1.09e-10farad)
  R17 = RES_(R=1)
  V18 = V_SIN(ACMAG=1V)
  A26 = NXGCPWTRL(W=15.5um G=88.5um P=515.032um)
  A27 = NXGCPWTRL(W=26.5um G=78.5um P=10um)
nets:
  0: V18.1, C14.0, C13.0
  net_4: R17.0, L12.1
  net_5: C14.1, R17.1
  Vin: V18.0, C13.1, L12.0
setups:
  LinearFrequency: LinearFrequencyData(false, 0.1, false, "", false) SweepDefinition{Variable=Freq Data="LINC 1GHz 40GHz 500"}
